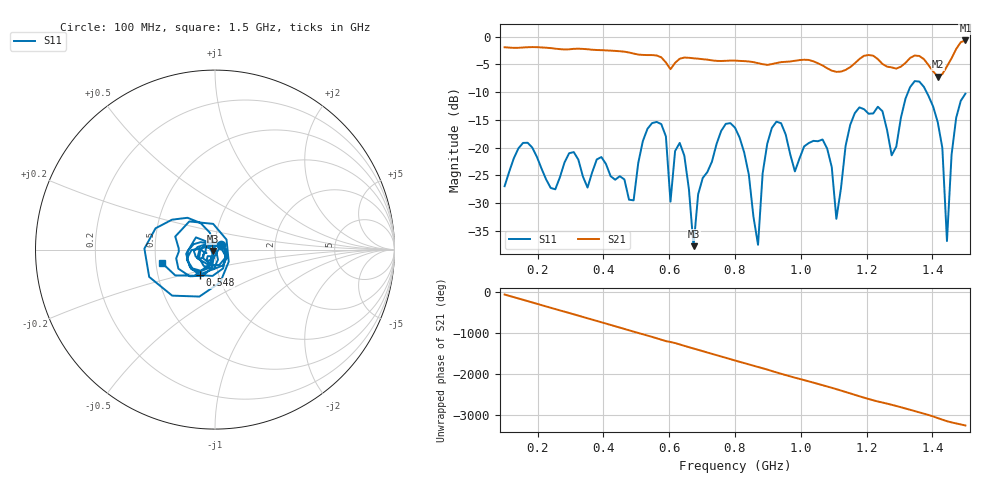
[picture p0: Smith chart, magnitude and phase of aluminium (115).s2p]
! NanoVNA-App
! Date: 2025-09-26 09:58:57
! Start: 100MHz Stop: 1,5GHz Points: 101
! S-Parameter data: F S11 S21 S12 S22
# Hz S RI R 50
!  Frequency  S11_Real  S11_Imag  S21_Real  S21_Imag  S12_Real  S12_Imag  S22_Real  S22_Imag
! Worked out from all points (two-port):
!   101 points, 100 MHz to 1.5 GHz, reference 50 ohm
!   highest |S21| = -0.69 dB at 1.5 GHz (marker M1); lowest = -7.2 dB at 1.416 GHz (marker M2)
!   |S21| within 3 dB of the highest: start of sweep to 574.4 MHz; 1.186 GHz to 1.226 GHz (39.31 MHz wide, 3.26 % of centre) (the widest 2 of 4)
!   lowest |S11| = -37.8 dB at 674 MHz (marker M3), VSWR 1.03, Z = 49 - j0.739 ohm
!   |S11| at or under -10 dB: start of sweep to 1.326 GHz; 1.382 GHz to end of sweep
!   S12 and S22 are empty: the file has one direction only
!   S11 on the Smith chart (normalised r, x): 100 MHz: 1.07, +0.06; 548 MHz: 0.81, -0.24; 1.5 GHz: 0.54, -0.09
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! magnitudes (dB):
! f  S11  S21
! 100 MHz  -27.0  -1.9
! 156 MHz  -19.2  -2.0
! 338 MHz  -25.2  -2.2
! 492 MHz  -29.5  -3.1
! 548 MHz  -15.6  -3.3
! 576 MHz  -15.8  -3.7
! 604 MHz  -29.8  -5.9
! 646 MHz  -21.5  -3.8
! 674 MHz  -37.8  -3.9
! 702 MHz  -25.5  -4.1
! 800 MHz  -16.4  -4.3
! 870 MHz  -37.5  -4.8
! 912 MHz  -16.5  -4.9
! 1.038 GHz  -18.8  -4.5
! 1.108 GHz  -32.9  -6.3
! 1.178 GHz  -12.8  -4.0
! 1.276 GHz  -21.4  -5.6
! 1.346 GHz  -8.0  -3.4
! 1.416 GHz  -15.4  -7.2
! 1.444 GHz  -36.9  -5.4
! 1.472 GHz  -14.6  -2.2
! 1.5 GHz  -10.3  -0.7
